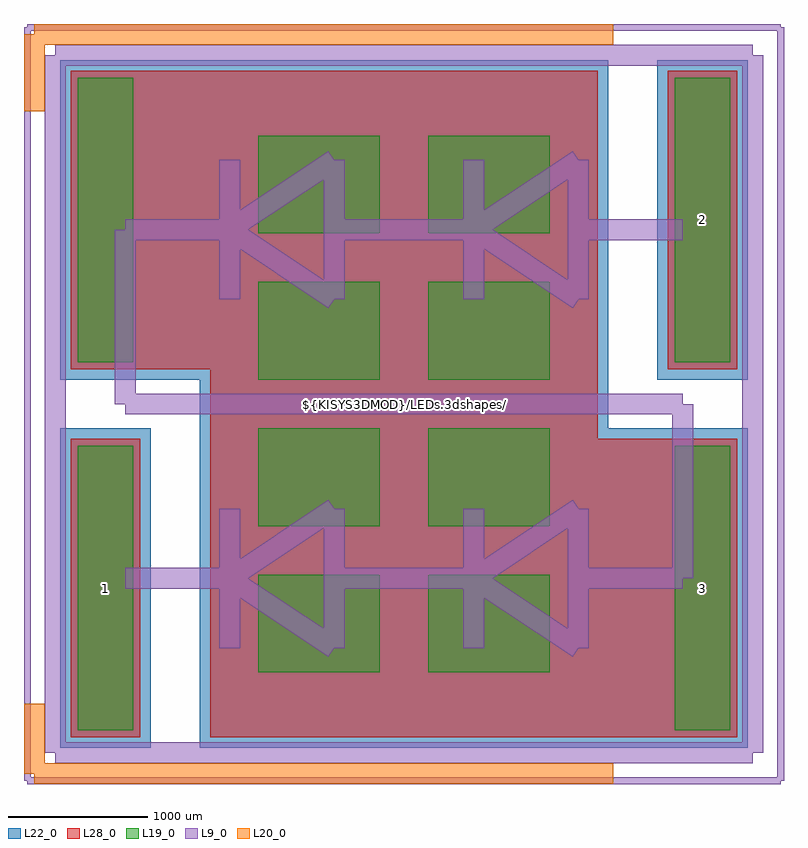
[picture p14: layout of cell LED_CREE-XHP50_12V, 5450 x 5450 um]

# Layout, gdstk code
import gdstk
lib = gdstk.Library(unit=1e-6, precision=1e-09)
def R(c, l, rs):  # rectangles x0, y0, x1, y1
    for r in rs: c.add(gdstk.rectangle(r[:2], r[2:], *l))
def A(c, l, x, y, w, h, nx, ny, dx, dy):  # array of equal rectangles
    R(c, l, [(x+i*dx, y+j*dy, x+i*dx+w, y+j*dy+h) for i in range(nx) for j in range(ny)])
L9_0 = (9, 0)
L19_0 = (19, 0)
L20_0 = (20, 0)
L22_0 = (22, 0)
L28_0 = (28, 0)

led_cree_xhp50_12v = lib.new_cell('LED_CREE-XHP50_12V')
A(led_cree_xhp50_12v, L19_0, -1045, -1925, 870, 700, 1, 4, 0, 1050)
A(led_cree_xhp50_12v, L19_0, 175, -1925, 870, 700, 1, 4, 0, 1050)
R(led_cree_xhp50_12v, L19_0, [(-2340,-2340,-1940,-300), (1940,-2340,2340,-300), (-2340,300,-1940,2340), (1940,300,2340,2340)])
A(led_cree_xhp50_12v, L22_0, -1170, -2050, 1120, 950, 1, 4, 0, 1050)
A(led_cree_xhp50_12v, L22_0, 50, -2050, 1120, 950, 1, 4, 0, 1050)
R(led_cree_xhp50_12v, L22_0, [(-2465,-2465,-1815,-175), (-1465,-2465,1465,2465), (1075,-2465,2225,-175), (1815,-2465,2465,-175), (-2465,175,-1815,2465), (-2225,175,-1075,2465), (1815,175,2465,2465)])
A(led_cree_xhp50_12v, L28_0, -1095, -1975, 970, 800, 1, 4, 0, 1050)
A(led_cree_xhp50_12v, L28_0, 125, -1975, 970, 800, 1, 4, 0, 1050)
R(led_cree_xhp50_12v, L28_0, [(-2390,-2390,-1890,-250), (-1390,-2390,1390,2390), (1150,-2390,2150,-250), (1890,-2390,2390,-250), (-2390,250,-1890,2390), (-2150,250,-1150,2390), (1890,250,2390,2390)])
led_cree_xhp50_12v.add(gdstk.FlexPath([(-2500,2500),(2500,2500)], 149.998, ends="flush", simple_path=True, layer=9, datatype=0))  # L9_0
led_cree_xhp50_12v.add(gdstk.FlexPath([(2500,2500),(2500,-2500)], 149.998, ends="flush", simple_path=True, layer=9, datatype=0))  # L9_0
led_cree_xhp50_12v.add(gdstk.FlexPath([(2500,-2500),(-2500,-2500)], 149.998, ends="flush", simple_path=True, layer=9, datatype=0))  # L9_0
led_cree_xhp50_12v.add(gdstk.FlexPath([(-2500,-2500),(-2500,2500)], 149.998, ends="flush", simple_path=True, layer=9, datatype=0))  # L9_0
led_cree_xhp50_12v.add(gdstk.FlexPath([(2700,2700),(-2700,2700)], 50, ends="flush", simple_path=True, layer=9, datatype=0))  # L9_0
led_cree_xhp50_12v.add(gdstk.FlexPath([(-2700,2700),(-2700,-2700)], 50, ends="flush", simple_path=True, layer=9, datatype=0))  # L9_0
led_cree_xhp50_12v.add(gdstk.FlexPath([(-2700,-2700),(2700,-2700)], 50, ends="flush", simple_path=True, layer=9, datatype=0))  # L9_0
led_cree_xhp50_12v.add(gdstk.FlexPath([(2700,-2700),(2700,2700)], 50, ends="flush", simple_path=True, layer=9, datatype=0))  # L9_0
led_cree_xhp50_12v.add(gdstk.FlexPath([(1500,2650),(-2650,2650)], 149.998, ends="flush", simple_path=True, layer=20, datatype=0))  # L20_0
led_cree_xhp50_12v.add(gdstk.FlexPath([(1500,-2650),(-2650,-2650)], 149.998, ends="flush", simple_path=True, layer=20, datatype=0))  # L20_0
led_cree_xhp50_12v.add(gdstk.FlexPath([(-2650,-2650),(-2650,-2150)], 149.998, ends="flush", simple_path=True, layer=20, datatype=0))  # L20_0
led_cree_xhp50_12v.add(gdstk.FlexPath([(-2650,2650),(-2650,2100)], 149.998, ends="flush", simple_path=True, layer=20, datatype=0))  # L20_0
led_cree_xhp50_12v.add(gdstk.FlexPath([(2000,1250),(1250,1250)], 149.998, ends="flush", simple_path=True, layer=9, datatype=0))  # L9_0
led_cree_xhp50_12v.add(gdstk.FlexPath([(1250,1250),(1250,1750)], 149.998, ends="flush", simple_path=True, layer=9, datatype=0))  # L9_0
led_cree_xhp50_12v.add(gdstk.FlexPath([(1250,1750),(500,1250)], 149.998, ends="flush", simple_path=True, layer=9, datatype=0))  # L9_0
led_cree_xhp50_12v.add(gdstk.FlexPath([(500,1250),(1250,750)], 149.998, ends="flush", simple_path=True, layer=9, datatype=0))  # L9_0
led_cree_xhp50_12v.add(gdstk.FlexPath([(1250,750),(1250,1250)], 149.998, ends="flush", simple_path=True, layer=9, datatype=0))  # L9_0
led_cree_xhp50_12v.add(gdstk.FlexPath([(500,1750),(500,750)], 149.998, ends="flush", simple_path=True, layer=9, datatype=0))  # L9_0
led_cree_xhp50_12v.add(gdstk.FlexPath([(-2000,1250),(-1250,1250)], 149.998, ends="flush", simple_path=True, layer=9, datatype=0))  # L9_0
led_cree_xhp50_12v.add(gdstk.FlexPath([(-1250,1250),(-1250,1750)], 149.998, ends="flush", simple_path=True, layer=9, datatype=0))  # L9_0
led_cree_xhp50_12v.add(gdstk.FlexPath([(-1250,1250),(-1250,750)], 149.998, ends="flush", simple_path=True, layer=9, datatype=0))  # L9_0
led_cree_xhp50_12v.add(gdstk.FlexPath([(-1250,1250),(-500,1750)], 149.998, ends="flush", simple_path=True, layer=9, datatype=0))  # L9_0
led_cree_xhp50_12v.add(gdstk.FlexPath([(-500,1750),(-500,750)], 149.998, ends="flush", simple_path=True, layer=9, datatype=0))  # L9_0
led_cree_xhp50_12v.add(gdstk.FlexPath([(-500,750),(-1250,1250)], 149.998, ends="flush", simple_path=True, layer=9, datatype=0))  # L9_0
led_cree_xhp50_12v.add(gdstk.FlexPath([(-500,1250),(500,1250)], 149.998, ends="flush", simple_path=True, layer=9, datatype=0))  # L9_0
led_cree_xhp50_12v.add(gdstk.FlexPath([(2000,-1250),(1250,-1250)], 149.998, ends="flush", simple_path=True, layer=9, datatype=0))  # L9_0
led_cree_xhp50_12v.add(gdstk.FlexPath([(1250,-750),(1250,-1750)], 149.998, ends="flush", simple_path=True, layer=9, datatype=0))  # L9_0
led_cree_xhp50_12v.add(gdstk.FlexPath([(1250,-750),(500,-1250)], 149.998, ends="flush", simple_path=True, layer=9, datatype=0))  # L9_0
led_cree_xhp50_12v.add(gdstk.FlexPath([(500,-1250),(1250,-1750)], 149.998, ends="flush", simple_path=True, layer=9, datatype=0))  # L9_0
led_cree_xhp50_12v.add(gdstk.FlexPath([(500,-750),(500,-1750)], 149.998, ends="flush", simple_path=True, layer=9, datatype=0))  # L9_0
led_cree_xhp50_12v.add(gdstk.FlexPath([(-2000,-1250),(-1250,-1250)], 149.998, ends="flush", simple_path=True, layer=9, datatype=0))  # L9_0
led_cree_xhp50_12v.add(gdstk.FlexPath([(-1250,-1250),(-1250,-750)], 149.998, ends="flush", simple_path=True, layer=9, datatype=0))  # L9_0
led_cree_xhp50_12v.add(gdstk.FlexPath([(-1250,-1250),(-1250,-1750)], 149.998, ends="flush", simple_path=True, layer=9, datatype=0))  # L9_0
led_cree_xhp50_12v.add(gdstk.FlexPath([(-1250,-1250),(-500,-750)], 149.998, ends="flush", simple_path=True, layer=9, datatype=0))  # L9_0
led_cree_xhp50_12v.add(gdstk.FlexPath([(-500,-750),(-500,-1750)], 149.998, ends="flush", simple_path=True, layer=9, datatype=0))  # L9_0
led_cree_xhp50_12v.add(gdstk.FlexPath([(-500,-1750),(-1250,-1250)], 149.998, ends="flush", simple_path=True, layer=9, datatype=0))  # L9_0
led_cree_xhp50_12v.add(gdstk.FlexPath([(-500,-1250),(500,-1250)], 149.998, ends="flush", simple_path=True, layer=9, datatype=0))  # L9_0
led_cree_xhp50_12v.add(gdstk.FlexPath([(-2000,1250),(-2000,0)], 149.998, ends="flush", simple_path=True, layer=9, datatype=0))  # L9_0
led_cree_xhp50_12v.add(gdstk.FlexPath([(-2000,0),(2000,0)], 149.998, ends="flush", simple_path=True, layer=9, datatype=0))  # L9_0
led_cree_xhp50_12v.add(gdstk.FlexPath([(2000,0),(2000,-1250)], 149.998, ends="flush", simple_path=True, layer=9, datatype=0))  # L9_0
led_cree_xhp50_12v.add(gdstk.Label('${KISYS3DMOD}/LEDs.3dshapes/LED_CREE-XHP50.wrl', (0,0), layer=12, texttype=0))
led_cree_xhp50_12v.add(gdstk.Label('2', (2140,1320), layer=28, texttype=0))
led_cree_xhp50_12v.add(gdstk.Label('1', (-2140,-1320), layer=28, texttype=0))
led_cree_xhp50_12v.add(gdstk.Label('3', (2140,-1320), layer=28, texttype=0))
led_cree_xhp50_12v.add(gdstk.Label('type', (0,3500), layer=9, texttype=0))
led_cree_xhp50_12v.add(gdstk.Label('devicename', (0,-3500), layer=9, texttype=0))

lib.write_gds('LED_CREE-XHP50_12V.gds')
